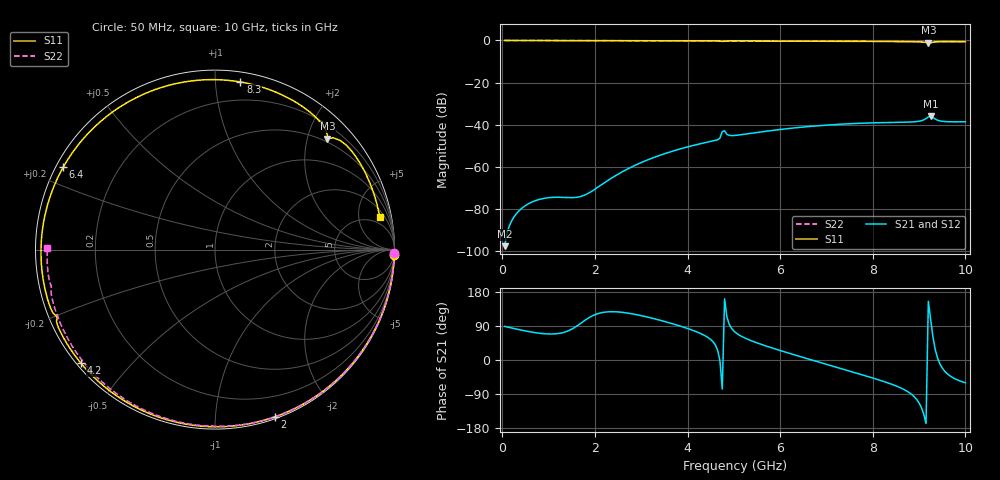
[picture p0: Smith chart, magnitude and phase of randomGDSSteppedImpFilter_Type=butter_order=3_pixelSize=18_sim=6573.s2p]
! freq	dB(S11)	phase(S11)	dB(S12)	phase(S12)
!  dB(S21)	phase(S21)	dB(S22)	phase(S22)
!S-par simulation data
#  GHz  S  DB  R 50
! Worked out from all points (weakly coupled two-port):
!   200 points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, 50 MHz to 10 GHz, reference 50 ohm
!   highest |S21| = -36.06 dB at 9.25 GHz (marker M1); lowest = -97.8 dB at 50 MHz (marker M2)
!   lowest |S11| = -1.1 dB at 9.2 GHz (marker M3), VSWR 15.57, Z = 21.8 + j118 ohm
!   |S11| at or under -10 dB: nowhere
!   |S22| runs from -0.6 to 0.0 dB; largest |S21 - S12| = 0
!   S11 on the Smith chart (normalised r, x): 50 MHz: 0, -62; 2 GHz: 0.02, -1.42; 4.2 GHz: 0.01, -0.37; 6.4 GHz: 0.02, +0.25; 8.3 GHz: 0.07, +1.16; 10 GHz: 3.09, +9.08
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0.05  -0.00 -1.8  -97.81 88.7  -97.81 88.7  -0.00 -1.0
0.4  -0.02 -14.5  -80.19 79.1  -80.19 79.1  -0.01 -8.2
0.85  -0.04 -30.6  -75.30 69.9  -75.30 69.9  -0.02 -17.4
1.75  -0.08 -61.9  -73.77 101.7  -73.77 101.7  -0.04 -35.4
2  -0.09 -70.3  -70.73 119.5  -70.73 119.5  -0.05 -40.3
2.65  -0.11 -91.6  -61.74 124.9  -61.74 124.9  -0.07 -52.8
3.4  -0.15 -115.2  -54.63 105.1  -54.63 105.1  -0.09 -66.9
4.2  -0.19 -139.8  -49.51 74.2  -49.51 74.2  -0.11 -81.5
4.65  -0.23 -153.8  -47.23 25.9  -47.23 25.9  -0.13 -89.5
4.8  -0.38 -156.9  -42.94 161.4  -42.94 161.4  -0.16 -91.9
5.05  -0.24 -165.3  -45.10 71.2  -45.10 71.2  -0.15 -96.3
5.75  -0.29 172.7  -43.01 34.8  -43.01 34.8  -0.18 -108.3
6.4  -0.34 151.5  -41.38 10.2  -41.38 10.2  -0.22 -119.2
6.7  -0.36 141.3  -40.77 -0.7  -40.77 -0.7  -0.24 -124.2
7.55  -0.43 110.7  -39.54 -31.1  -39.54 -31.1  -0.31 -138.2
8.3  -0.49 81.4  -39.03 -59.3  -39.03 -59.3  -0.38 -150.8
8.35  -0.50 79.3  -39.01 -61.4  -39.01 -61.4  -0.39 -151.7
9  -0.68 51.9  -38.41 -113.4  -38.41 -113.4  -0.47 -163.0
9.2  -1.12 44.6  -36.38 154.9  -36.38 154.9  -0.55 -166.6
9.25  -1.09 44.5  -36.06 106.4  -36.06 106.4  -0.59 -167.2
9.5  -0.54 33.4  -38.43 -21.1  -38.43 -21.1  -0.54 -171.4
10  -0.58 11.3  -38.65 -60.2  -38.65 -60.2  -0.60 179.4
